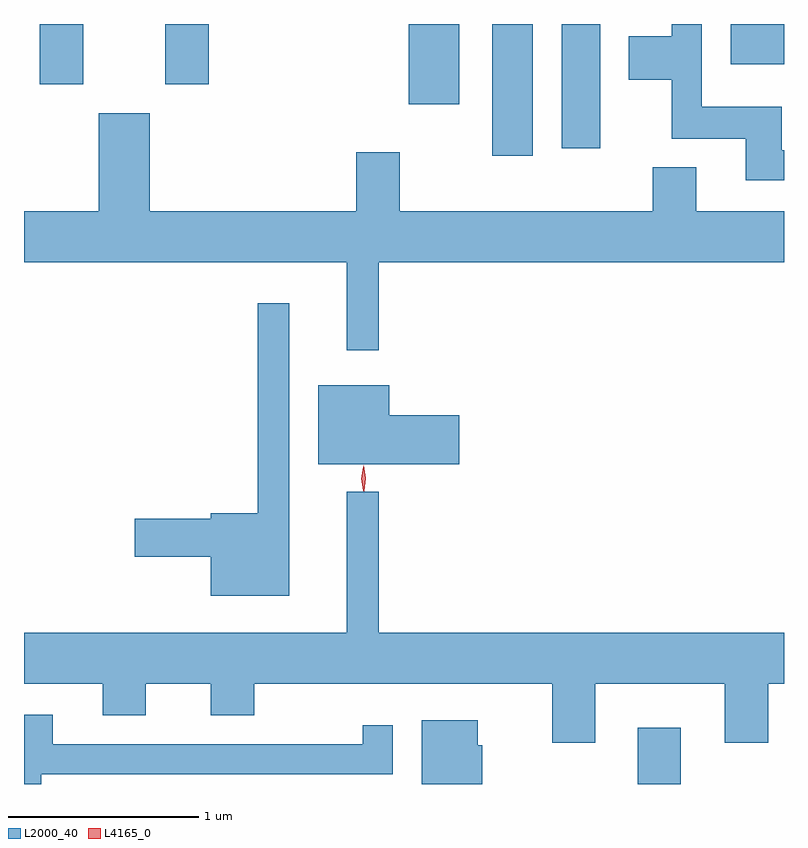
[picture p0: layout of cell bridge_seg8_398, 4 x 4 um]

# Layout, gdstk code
import gdstk
lib = gdstk.Library(unit=1e-6, precision=1e-09)
def R(c, l, rs):  # rectangles x0, y0, x1, y1
    for r in rs: c.add(gdstk.rectangle(r[:2], r[2:], *l))
def P(c, l, *ps):  # polygons
    for p in ps: c.add(gdstk.Polygon(p, *l))
L2000_40 = (2000, 40)
L4165_0 = (4165, 0)

bridge_seg8_398 = lib.new_cell('bridge_seg8_398')
R(bridge_seg8_398, L2000_40, [(698.911,1829.229,699.139,1829.524), (698.146,1832.536,698.359,1833.229), (698.511,1832.576,698.714,1833.229), (697.706,1832.806,697.974,1833.229), (695.766,1832.911,695.994,1833.229), (696.426,1832.911,696.654,1833.229), (699.401,1833.016,699.682,1833.229)])
P(bridge_seg8_398, L2000_40, [(699.682,1832.564),(699.669,1832.564),(699.669,1832.794),(699.249,1832.794),(699.249,1833.229),(699.091,1833.229),(699.091,1833.164),(698.866,1833.164),(698.866,1832.936),(699.091,1832.936),(699.091,1832.626),(699.481,1832.626),(699.481,1832.406),(699.682,1832.406)],
  [(697.549,1831.976),(699.682,1831.976),(699.682,1832.244),(699.219,1832.244),(699.219,1832.474),(698.991,1832.474),(698.991,1832.244),(697.659,1832.244),(697.659,1832.554),(697.431,1832.554),(697.431,1832.244),(696.344,1832.244),(696.344,1832.759),(696.076,1832.759),(696.076,1832.244),(695.682,1832.244),(695.682,1831.976),(697.381,1831.976),(697.381,1831.513),(697.549,1831.513)],
  [(697.079,1831.758),(696.911,1831.758),(696.911,1830.654),(696.666,1830.654),(696.666,1830.624),(696.266,1830.624),(696.266,1830.426),(696.666,1830.426),(696.666,1830.221),(697.079,1830.221)],
  [(697.974,1831.169),(697.604,1831.169),(697.604,1831.329),(697.231,1831.329),(697.231,1830.911),(697.974,1830.911)],
  [(695.682,1829.756),(696.096,1829.756),(696.096,1829.591),(696.324,1829.591),(696.324,1829.756),(696.666,1829.756),(696.666,1829.591),(696.894,1829.591),(696.894,1829.756),(698.461,1829.756),(698.461,1829.446),(698.689,1829.446),(698.689,1829.756),(699.371,1829.756),(699.371,1829.446),(699.599,1829.446),(699.599,1829.756),(699.682,1829.756),(699.682,1830.024),(697.549,1830.024),(697.549,1830.768),(697.381,1830.768),(697.381,1830.024),(695.682,1830.024)],
  [(695.774,1829.281),(697.624,1829.281),(697.624,1829.538),(697.466,1829.538),(697.466,1829.439),(695.834,1829.439),(695.834,1829.594),(695.682,1829.594),(695.682,1829.229),(695.774,1829.229)],
  [(698.094,1829.434),(698.069,1829.434),(698.069,1829.564),(697.776,1829.564),(697.776,1829.229),(698.094,1829.229)])
P(bridge_seg8_398, L4165_0, [(697.471,1830.77),(697.471,1830.77),(697.461,1830.838),(697.47,1830.906),(697.47,1830.906),(697.471,1830.906),(697.481,1830.838),(697.472,1830.77)],
  [(697.468,1830.773),(697.468,1830.773),(697.458,1830.836),(697.468,1830.899),(697.468,1830.9),(697.469,1830.899),(697.478,1830.836),(697.469,1830.773)])

lib.write_gds('bridge_seg8_398.gds')
